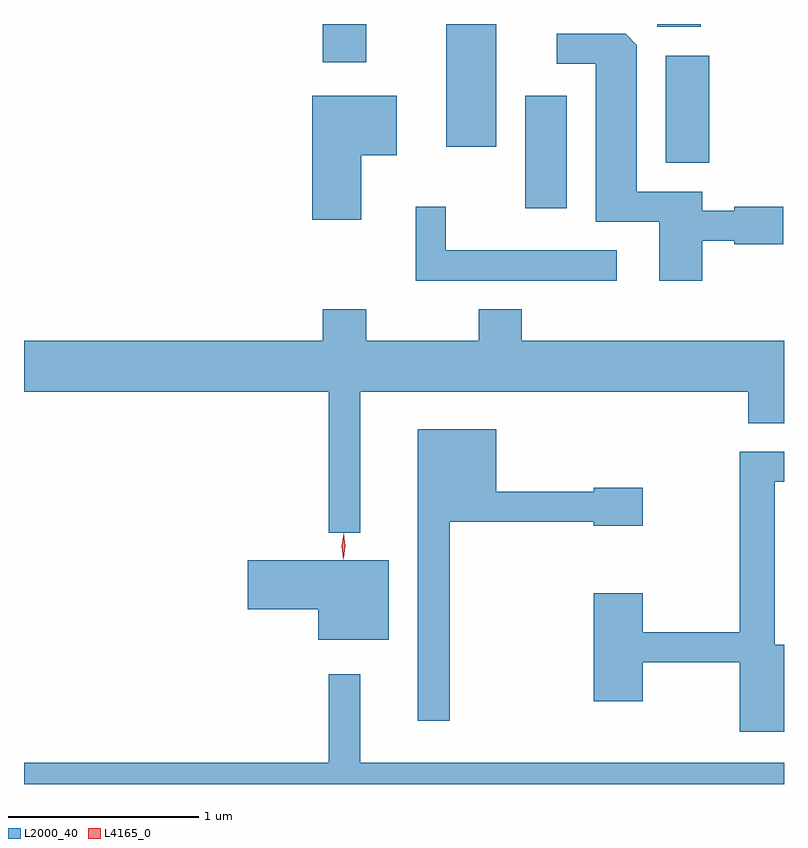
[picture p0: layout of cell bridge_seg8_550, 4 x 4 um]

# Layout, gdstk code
import gdstk
lib = gdstk.Library(unit=1e-6, precision=1e-09)
def R(c, l, rs):  # rectangles x0, y0, x1, y1
    for r in rs: c.add(gdstk.rectangle(r[:2], r[2:], *l))
def P(c, l, *ps):  # polygons
    for p in ps: c.add(gdstk.Polygon(p, *l))
L2000_40 = (2000, 40)
L4165_0 = (4165, 0)

bridge_seg8_550 = lib.new_cell('bridge_seg8_550')
R(bridge_seg8_550, L2000_40, [(450.966,1852.921,451.184,1853.514), (451.706,1853.161,451.934,1853.724), (450.551,1853.246,450.814,1853.891), (449.901,1853.691,450.129,1853.891), (451.661,1853.876,451.889,1853.891)])
P(bridge_seg8_550, L2000_40, [(451.899,1852.751),(452.066,1852.751),(452.066,1852.731),(452.324,1852.731),(452.324,1852.929),(452.066,1852.929),(452.066,1852.909),(451.899,1852.909),(451.899,1853.009),(451.554,1853.009),(451.554,1853.779),(451.494,1853.839),(451.133,1853.839),(451.133,1853.681),(451.336,1853.681),(451.336,1852.851),(451.671,1852.851),(451.671,1852.541),(451.899,1852.541)],
  [(450.104,1853.201),(450.289,1853.201),(450.289,1853.514),(449.846,1853.514),(449.846,1852.861),(450.104,1852.861)],
  [(451.448,1852.699),(450.549,1852.699),(450.549,1852.928),(450.391,1852.928),(450.391,1852.541),(451.448,1852.541)],
  [(450.099,1851.956),(452.141,1851.956),(452.141,1851.791),(452.328,1851.791),(452.328,1852.224),(450.949,1852.224),(450.949,1852.389),(450.721,1852.389),(450.721,1852.224),(450.129,1852.224),(450.129,1852.389),(449.901,1852.389),(449.901,1852.224),(448.328,1852.224),(448.328,1851.956),(449.931,1851.956),(449.931,1851.213),(450.099,1851.213)],
  [(450.569,1851.271),(451.326,1851.271),(451.326,1851.251),(451.584,1851.251),(451.584,1851.449),(451.326,1851.449),(451.326,1851.429),(450.814,1851.429),(450.814,1851.759),(450.401,1851.759),(450.401,1850.223),(450.569,1850.223)],
  [(452.328,1850.624),(452.279,1850.624),(452.279,1851.481),(452.328,1851.481),(452.328,1851.639),(452.096,1851.639),(452.096,1850.689),(451.584,1850.689),(451.584,1850.894),(451.326,1850.894),(451.326,1850.326),(451.584,1850.326),(451.584,1850.531),(452.096,1850.531),(452.096,1850.166),(452.328,1850.166)],
  [(450.249,1851.069),(449.506,1851.069),(449.506,1850.811),(449.876,1850.811),(449.876,1850.651),(450.249,1850.651)],
  [(452.328,1850.004),(450.099,1850.004),(450.099,1850.468),(449.931,1850.468),(449.931,1850.004),(448.328,1850.004),(448.328,1849.891),(452.328,1849.891)])
P(bridge_seg8_550, L4165_0, [(450.01,1851.08),(450.01,1851.08),(450,1851.144),(450.01,1851.206),(450.01,1851.207),(450.011,1851.206),(450.02,1851.144),(450.011,1851.08)],
  [(450.008,1851.074),(450,1851.142),(450.01,1851.21),(450.01,1851.21),(450.011,1851.21),(450.019,1851.142),(450.009,1851.074),(450.009,1851.074)])

lib.write_gds('bridge_seg8_550.gds')
